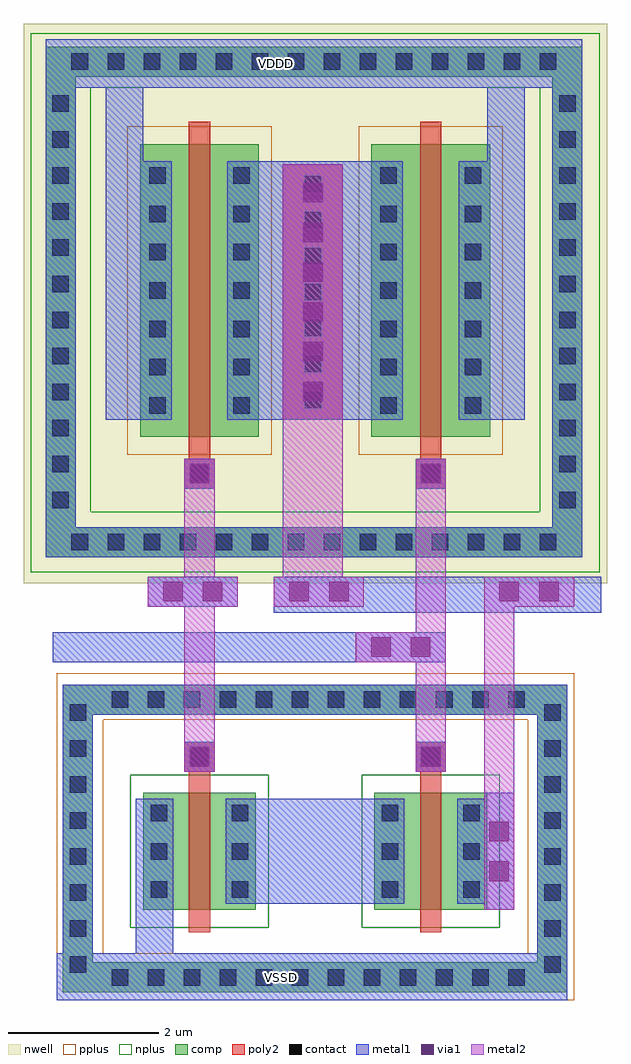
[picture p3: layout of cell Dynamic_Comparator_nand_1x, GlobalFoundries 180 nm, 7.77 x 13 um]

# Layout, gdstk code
import gdstk
lib = gdstk.Library(unit=1e-6, precision=1e-09)
def R(c, l, rs):  # rectangles x0, y0, x1, y1
    for r in rs: c.add(gdstk.rectangle(r[:2], r[2:], *l))
def A(c, l, x, y, w, h, nx, ny, dx, dy):  # array of equal rectangles
    R(c, l, [(x+i*dx, y+j*dy, x+i*dx+w, y+j*dy+h) for i in range(nx) for j in range(ny)])
def P(c, l, *ps):  # polygons
    for p in ps: c.add(gdstk.Polygon(p, *l))
nwell = (21, 0)
comp = (22, 0)
poly2 = (30, 0)
pplus = (31, 0)
nplus = (32, 0)
contact = (33, 0)
metal1 = (34, 0)
via1 = (35, 0)
metal2 = (36, 0)

pfet_4 = lib.new_cell('pfet$4')
R(pfet_4, nwell, [(-0.9,-0.44,1.56,4.34)])
R(pfet_4, comp, [(-0.46,0,0,3.9), (0,0,0.66,3.9), (0.66,0,1.12,3.9)])
R(pfet_4, poly2, [(0.19,-0.3,0.47,4.2), (0.14,4.2,0.52,4.58)])
R(pfet_4, pplus, [(-0.63,-0.24,1.29,4.14)])
A(pfet_4, contact, -0.34, 0.31, 0.22, 0.22, 1, 7, 0, 0.51)
A(pfet_4, contact, 0.78, 0.31, 0.22, 0.22, 1, 7, 0, 0.51)
R(pfet_4, contact, [(0.22,4.28,0.44,4.5)])
R(pfet_4, metal1, [(-0.42,0.23,-0.04,3.67), (0.7,0.23,1.08,3.67), (0.14,4.199,0.52,4.581)])

via_dev_2 = lib.new_cell('via_dev$2')
R(via_dev_2, poly2, [(0,0,0.4,0.4)])
R(via_dev_2, contact, [(0.09,0.09,0.31,0.31)])
R(via_dev_2, metal1, [(0,0,0.4,0.4)])
R(via_dev_2, via1, [(0.07,0.07,0.33,0.33)])
R(via_dev_2, metal2, [(0,0,0.4,0.4)])

via_dev_22 = lib.new_cell('via_dev$22')
R(via_dev_22, metal1, [(0,0,1.2,0.4)])
R(via_dev_22, via1, [(0.205,0.07,0.465,0.33), (0.735,0.07,0.995,0.33)])
R(via_dev_22, metal2, [(0,0,1.2,0.4)])

nfet_5 = lib.new_cell('nfet$5')
R(nfet_5, comp, [(-0.42,0,0,1.56), (0,0,0.66,1.56), (0.66,0,1.08,1.56)])
R(nfet_5, poly2, [(0.19,-0.3,0.47,1.86), (0.15,1.86,0.51,2.22)])
R(nfet_5, nplus, [(-0.59,-0.24,1.25,1.8)])
A(nfet_5, contact, -0.32, 0.16, 0.22, 0.22, 1, 3, 0, 0.51)
A(nfet_5, contact, 0.76, 0.16, 0.22, 0.22, 1, 3, 0, 0.51)
R(nfet_5, contact, [(0.22,1.93,0.44,2.15)])
R(nfet_5, metal1, [(-0.4,0.08,-0.02,1.48), (0.68,0.08,1.06,1.48), (0.14,1.849,0.52,2.231)])

via_dev_23 = lib.new_cell('via_dev$23')
R(via_dev_23, comp, [(0,0,0.4,6)])
A(via_dev_23, contact, 0.09, 0.25, 0.22, 0.22, 1, 12, 0, 0.48)
R(via_dev_23, metal1, [(0,0,0.4,6)])

via_dev_24 = lib.new_cell('via_dev$24')
R(via_dev_24, comp, [(0,0,7.15,0.4)])
A(via_dev_24, contact, 0.345, 0.09, 0.22, 0.22, 14, 1, 0.48, 0)
R(via_dev_24, metal1, [(0,0,7.15,0.4)])

via_dev_25 = lib.new_cell('via_dev$25')
R(via_dev_25, comp, [(0,0,6,0.4)])
A(via_dev_25, contact, 0.25, 0.09, 0.22, 0.22, 12, 1, 0.48, 0)
R(via_dev_25, metal1, [(0,0,6,0.4)])

via_dev_26 = lib.new_cell('via_dev$26')
R(via_dev_26, comp, [(0,0,0.4,4.1)])
A(via_dev_26, contact, 0.09, 0.26, 0.22, 0.22, 1, 8, 0, 0.48)
R(via_dev_26, metal1, [(0,0,0.4,4.1)])

via_dev_27 = lib.new_cell('via_dev$27')
R(via_dev_27, poly2, [(0,0,0.8,3.4)])
A(via_dev_27, contact, 0.29, 0.15, 0.22, 0.22, 1, 7, 0, 0.48)
R(via_dev_27, metal1, [(0,0,0.8,3.4)])
A(via_dev_27, via1, 0.27, 0.245, 0.26, 0.26, 1, 6, 0, 0.53)
R(via_dev_27, metal2, [(0,0,0.8,3.4)])

via_dev_28 = lib.new_cell('via_dev$28')
R(via_dev_28, metal1, [(0,0,0.4,1.56)])
R(via_dev_28, via1, [(0.07,0.385,0.33,0.645), (0.07,0.915,0.33,1.175)])
R(via_dev_28, metal2, [(0,0,0.4,1.56)])

dynamic_comparator_nand_ = lib.new_cell('Dynamic_Comparator_nand_1x')
R(dynamic_comparator_nand_, nwell, [(-6.425,-3.33,1.345,4.12)])
R(dynamic_comparator_nand_, pplus, [(-5.985,-8.88,-5.365,-4.53), (-5.985,-8.88,0.365,-8.26), (0.285,-8.88,0.905,-4.53), (-5.985,-5.15,0.365,-4.53)])
R(dynamic_comparator_nand_, nplus, [(-6.335,-3.18,1.245,-2.38), (-6.335,-3.03,-5.535,3.87), (0.445,-3.03,1.245,3.92), (-6.335,3.27,1.245,4)])
R(dynamic_comparator_nand_, metal1, [(-5.985,-8.88,0.815,-8.26), (-4.935,-8.47,-4.435,-6.2), (-3.365,-7.6,-1.695,-6.2), (-6.04,-4.38,-1.605,-3.98), (-3.095,-3.72,1.265,-3.24), (-5.335,-1.15,-4.835,3.8), (-3.335,-1.15,-1.755,2.29), (-0.255,-1.15,0.245,3.8), (-6.135,3.27,1.015,3.92)])
P(dynamic_comparator_nand_, metal1, [(-4.775,-3.64),(-4.775,-3.24),(-4.775,-3.24),(-4.775,-3.64)])
R(dynamic_comparator_nand_, metal2, [(-0.295,-6.12,0.105,-3.24), (-4.285,-5.44,-3.885,-2), (-1.205,-5.44,-0.805,-1.89), (-2.975,-3.24,-2.175,-1.15)])
dynamic_comparator_nand_.add(gdstk.Reference(pfet_4, (-4.415,2.52), x_reflection=True))
dynamic_comparator_nand_.add(gdstk.Reference(via_dev_2, (-1.205,-5.84)))
dynamic_comparator_nand_.add(gdstk.Reference(via_dev_2, (-4.285,-2.07)))
dynamic_comparator_nand_.add(gdstk.Reference(via_dev_2, (-1.205,-2.07)))
dynamic_comparator_nand_.add(gdstk.Reference(via_dev_22, (-3.095,-3.64)))
dynamic_comparator_nand_.add(gdstk.Reference(nfet_5, (-4.415,-7.68)))
dynamic_comparator_nand_.add(gdstk.Reference(via_dev_23, (-6.135,-2.58)))
dynamic_comparator_nand_.add(gdstk.Reference(via_dev_22, (-2.005,-4.38)))
dynamic_comparator_nand_.add(gdstk.Reference(via_dev_24, (-6.135,3.42)))
dynamic_comparator_nand_.add(gdstk.Reference(nfet_5, (-1.335,-7.68)))
dynamic_comparator_nand_.add(gdstk.Reference(via_dev_25, (-5.505,-5.08)))
dynamic_comparator_nand_.add(gdstk.Reference(via_dev_25, (-5.505,-8.78)))
dynamic_comparator_nand_.add(gdstk.Reference(via_dev_26, (-5.905,-8.78)))
dynamic_comparator_nand_.add(gdstk.Reference(via_dev_27, (-2.975,-1.15)))
dynamic_comparator_nand_.add(gdstk.Reference(via_dev_2, (-4.285,-5.84)))
dynamic_comparator_nand_.add(gdstk.Reference(via_dev_22, (-0.295,-3.64)))
dynamic_comparator_nand_.add(gdstk.Reference(pfet_4, (-1.335,2.52), x_reflection=True))
dynamic_comparator_nand_.add(gdstk.Reference(via_dev_22, (-4.775,-3.64)))
dynamic_comparator_nand_.add(gdstk.Reference(via_dev_23, (0.615,-2.58)))
dynamic_comparator_nand_.add(gdstk.Reference(via_dev_24, (-6.135,-2.98)))
dynamic_comparator_nand_.add(gdstk.Reference(via_dev_26, (0.415,-8.78)))
dynamic_comparator_nand_.add(gdstk.Reference(via_dev_28, (-0.295,-7.68)))
dynamic_comparator_nand_.add(gdstk.Label('VDDD', (-3.065,3.6), layer=34, texttype=10))
dynamic_comparator_nand_.add(gdstk.Label('VSSD', (-2.995,-8.58), layer=34, texttype=10))

lib.write_gds('Dynamic_Comparator_nand_1x.gds')
